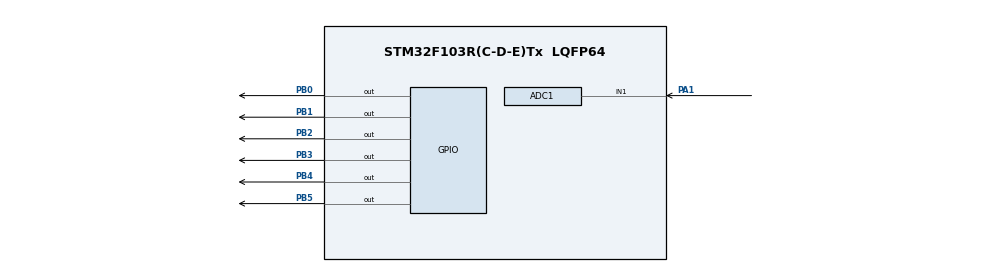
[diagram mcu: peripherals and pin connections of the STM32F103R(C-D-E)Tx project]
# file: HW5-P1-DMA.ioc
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ADC1.Channel-2\#ChannelRegularConversion=ADC_CHANNEL_1
ADC1.ContinuousConvMode=ENABLE
ADC1.NbrOfConversionFlag=1
ADC1.Rank-2\#ChannelRegularConversion=1
ADC1.SamplingTime-2\#ChannelRegularConversion=ADC_SAMPLETIME_239CYCLES_5
ADC1.master=1
Dma.ADC1.0.Direction=DMA_PERIPH_TO_MEMORY
Dma.ADC1.0.Instance=DMA1_Channel1
Dma.ADC1.0.MemDataAlignment=DMA_MDATAALIGN_HALFWORD
Dma.ADC1.0.MemInc=DMA_MINC_ENABLE
Dma.ADC1.0.Mode=DMA_CIRCULAR
Dma.ADC1.0.PeriphDataAlignment=DMA_PDATAALIGN_HALFWORD
Dma.ADC1.0.PeriphInc=DMA_PINC_DISABLE
Dma.ADC1.0.Priority=DMA_PRIORITY_LOW
Dma.Request0=ADC1
Mcu.Family=STM32F1
Mcu.Name=STM32F103R(C-D-E)Tx
Mcu.Package=LQFP64
NVIC.DMA1_Channel1_IRQn=true\:0\:0\:false\:false\:true\:false\:true\:true
NVIC.PriorityGroup=NVIC_PRIORITYGROUP_4
PA1.Signal=ADCx_IN1
PA13.Mode=Serial_Wire
PA13.Signal=SYS_JTMS-SWDIO
PA14.Mode=Serial_Wire
PA14.Signal=SYS_JTCK-SWCLK
PB0.Signal=GPIO_Output
PB1.Signal=GPIO_Output
PB2.Signal=GPIO_Output
PB3.Signal=GPIO_Output
PB4.Signal=GPIO_Output
PB5.Signal=GPIO_Output
PD0-OSC_IN.Mode=HSE-External-Oscillator
PD0-OSC_IN.Signal=RCC_OSC_IN
PD1-OSC_OUT.Mode=HSE-External-Oscillator
PD1-OSC_OUT.Signal=RCC_OSC_OUT
ProjectManager.HeapSize=0x200
ProjectManager.StackSize=0x400
ProjectManager.TargetToolchain=MDK-ARM V5.32
RCC.APB1Freq_Value=8000000
RCC.APB2Freq_Value=8000000
SH.ADCx_IN1.0=ADC1_IN1,IN1
board=custom

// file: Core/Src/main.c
/* USER CODE BEGIN Header */
/**
  ******************************************************************************
  * @file           : main.c
  * @brief          : Main program body
  ******************************************************************************
  * @attention
  *
  * Copyright (c) 2026 STMicroelectronics.
  * All rights reserved.
  *
  * This software is licensed under terms that can be found in the LICENSE file
  * in the root directory of this software component.
  * If no LICENSE file comes with this software, it is provided AS-IS.
  *
  ******************************************************************************
  */
/* USER CODE END Header */
#include "main.h"

/* USER CODE BEGIN Includes */
#include <stdio.h>
#include "lcd.h"
/* USER CODE END Includes */

/* USER CODE BEGIN PD */
#define ADC_SAMPLE_COUNT 50
/* USER CODE END PD */

ADC_HandleTypeDef hadc1;
DMA_HandleTypeDef hdma_adc1;

/* USER CODE BEGIN PV */
Lcd_HandleTypeDef lcd;
char lcd_buffer[16];

// 50-sample buffer filled automatically by DMA hardware
volatile uint16_t adc_values[ADC_SAMPLE_COUNT];
volatile uint8_t data_ready_flag = 0;

uint32_t adc_sum = 0;
uint16_t adc_avg = 0;
/* USER CODE END PV */

void SystemClock_Config(void);
static void MX_GPIO_Init(void);
static void MX_DMA_Init(void);
static void MX_ADC1_Init(void);

int main(void)
{

  /* MCU Configuration--------------------------------------------------------*/

  /* Reset of all peripherals, Initializes the Flash interface and the Systick. */
  HAL_Init();

  /* Configure the system clock */
  SystemClock_Config();

  /* Initialize all configured peripherals */
  MX_GPIO_Init();
  MX_DMA_Init();
  MX_ADC1_Init();
  /* USER CODE BEGIN 2 */
  Lcd_PortType dataPorts[] = {GPIOB, GPIOB, GPIOB, GPIOB};
	Lcd_PinType dataPins[] = {GPIO_PIN_0, GPIO_PIN_1, GPIO_PIN_2, GPIO_PIN_3};
	lcd = Lcd_create(dataPorts, dataPins, GPIOB, GPIO_PIN_4, GPIOB, GPIO_PIN_5, LCD_4_BIT_MODE);

	Lcd_cursor(&lcd, 0, 0);
	Lcd_string(&lcd, "ADC Circular DMA");
	HAL_Delay(1000);
	Lcd_clear(&lcd);

	// Start DMA ONCE. Because it's circular + continuous, you NEVER have to call this again.
	HAL_ADC_Start_DMA(&hadc1, (uint32_t*)adc_values, ADC_SAMPLE_COUNT);
  /* USER CODE END 2 */

  /* Infinite loop */
  /* USER CODE BEGIN WHILE */
  while (1)
  {
		if (data_ready_flag == 1)
    {
        // 1) Clear flag immediately
        data_ready_flag = 0;

        // 2) Sum up the 50 samples (the hardware is already collecting the next batch!)
        adc_sum = 0;
        for (int i = 0; i < ADC_SAMPLE_COUNT; i++)
        {
            adc_sum += adc_values[i];
        }
        adc_avg = adc_sum / ADC_SAMPLE_COUNT;

        // 3) Integer voltage math
        uint32_t volt_scaled = (adc_avg * 330) / 4095;
        uint8_t whole_part = volt_scaled / 100;
        uint8_t frac_part = volt_scaled % 100;

        // 4) Display data
        snprintf(lcd_buffer, sizeof(lcd_buffer), "Raw Avg: %d    ", adc_avg);
        Lcd_cursor(&lcd, 0, 0);
        Lcd_string(&lcd, lcd_buffer);

        snprintf(lcd_buffer, sizeof(lcd_buffer), "Volt: %d.%02d V   ", whole_part, frac_part);
        Lcd_cursor(&lcd, 1, 0);
        Lcd_string(&lcd, lcd_buffer);

        // 5) Delay just to give the screen breathing room (keeps UI readable)
        HAL_Delay(500);
    }
    /* USER CODE END WHILE */

  }
}

void SystemClock_Config(void)
{
  RCC_OscInitTypeDef RCC_OscInitStruct = {0};
  RCC_ClkInitTypeDef RCC_ClkInitStruct = {0};
  RCC_PeriphCLKInitTypeDef PeriphClkInit = {0};

  /** Initializes the RCC Oscillators according to the specified parameters
  * in the RCC_OscInitTypeDef structure.
  */
  RCC_OscInitStruct.OscillatorType = RCC_OSCILLATORTYPE_HSI;
  RCC_OscInitStruct.HSIState = RCC_HSI_ON;
  RCC_OscInitStruct.HSICalibrationValue = RCC_HSICALIBRATION_DEFAULT;
  RCC_OscInitStruct.PLL.PLLState = RCC_PLL_NONE;
  if (HAL_RCC_OscConfig(&RCC_OscInitStruct) != HAL_OK)
  {
    Error_Handler();
  }

  /** Initializes the CPU, AHB and APB buses clocks
  */
  RCC_ClkInitStruct.ClockType = RCC_CLOCKTYPE_HCLK|RCC_CLOCKTYPE_SYSCLK
                              |RCC_CLOCKTYPE_PCLK1|RCC_CLOCKTYPE_PCLK2;
  RCC_ClkInitStruct.SYSCLKSource = RCC_SYSCLKSOURCE_HSI;
  RCC_ClkInitStruct.AHBCLKDivider = RCC_SYSCLK_DIV1;
  RCC_ClkInitStruct.APB1CLKDivider = RCC_HCLK_DIV1;
  RCC_ClkInitStruct.APB2CLKDivider = RCC_HCLK_DIV1;

  if (HAL_RCC_ClockConfig(&RCC_ClkInitStruct, FLASH_LATENCY_0) != HAL_OK)
  {
    Error_Handler();
  }
  PeriphClkInit.PeriphClockSelection = RCC_PERIPHCLK_ADC;
  PeriphClkInit.AdcClockSelection = RCC_ADCPCLK2_DIV2;
  if (HAL_RCCEx_PeriphCLKConfig(&PeriphClkInit) != HAL_OK)
  {
    Error_Handler();
  }
}

static void MX_ADC1_Init(void)
{

  ADC_ChannelConfTypeDef sConfig = {0};

  /** Common config
  */
  hadc1.Instance = ADC1;
  hadc1.Init.ScanConvMode = ADC_SCAN_DISABLE;
  hadc1.Init.ContinuousConvMode = ENABLE;
  hadc1.Init.DiscontinuousConvMode = DISABLE;
  hadc1.Init.ExternalTrigConv = ADC_SOFTWARE_START;
  hadc1.Init.DataAlign = ADC_DATAALIGN_RIGHT;
  hadc1.Init.NbrOfConversion = 1;
  if (HAL_ADC_Init(&hadc1) != HAL_OK)
  {
    Error_Handler();
  }

  /** Configure Regular Channel
  */
  sConfig.Channel = ADC_CHANNEL_1;
  sConfig.Rank = ADC_REGULAR_RANK_1;
  sConfig.SamplingTime = ADC_SAMPLETIME_239CYCLES_5;
  if (HAL_ADC_ConfigChannel(&hadc1, &sConfig) != HAL_OK)
  {
    Error_Handler();
  }

}

static void MX_DMA_Init(void)
{

  /* DMA controller clock enable */
  __HAL_RCC_DMA1_CLK_ENABLE();

  /* DMA interrupt init */
  /* DMA1_Channel1_IRQn interrupt configuration */
  HAL_NVIC_SetPriority(DMA1_Channel1_IRQn, 0, 0);
  HAL_NVIC_EnableIRQ(DMA1_Channel1_IRQn);

}

static void MX_GPIO_Init(void)
{
  GPIO_InitTypeDef GPIO_InitStruct = {0};

  /* GPIO Ports Clock Enable */
  __HAL_RCC_GPIOD_CLK_ENABLE();
  __HAL_RCC_GPIOA_CLK_ENABLE();
  __HAL_RCC_GPIOB_CLK_ENABLE();

  /*Configure GPIO pin Output Level */
  HAL_GPIO_WritePin(GPIOB, GPIO_PIN_0|GPIO_PIN_1|GPIO_PIN_2|GPIO_PIN_3
                          |GPIO_PIN_4|GPIO_PIN_5, GPIO_PIN_RESET);

  /*Configure GPIO pins : PB0 PB1 PB2 PB3
                           PB4 PB5 */
  GPIO_InitStruct.Pin = GPIO_PIN_0|GPIO_PIN_1|GPIO_PIN_2|GPIO_PIN_3
                          |GPIO_PIN_4|GPIO_PIN_5;
  GPIO_InitStruct.Mode = GPIO_MODE_OUTPUT_PP;
  GPIO_InitStruct.Pull = GPIO_NOPULL;
  GPIO_InitStruct.Speed = GPIO_SPEED_FREQ_LOW;
  HAL_GPIO_Init(GPIOB, &GPIO_InitStruct);

}

/* USER CODE BEGIN 4 */
void HAL_ADC_ConvCpltCallback(ADC_HandleTypeDef* hadc)
{
    if(hadc->Instance == ADC1)
    {
        data_ready_flag = 1;
    }
}
/* USER CODE END 4 */

void Error_Handler(void)
{
  __disable_irq();
  while (1)
  {
  }
}
